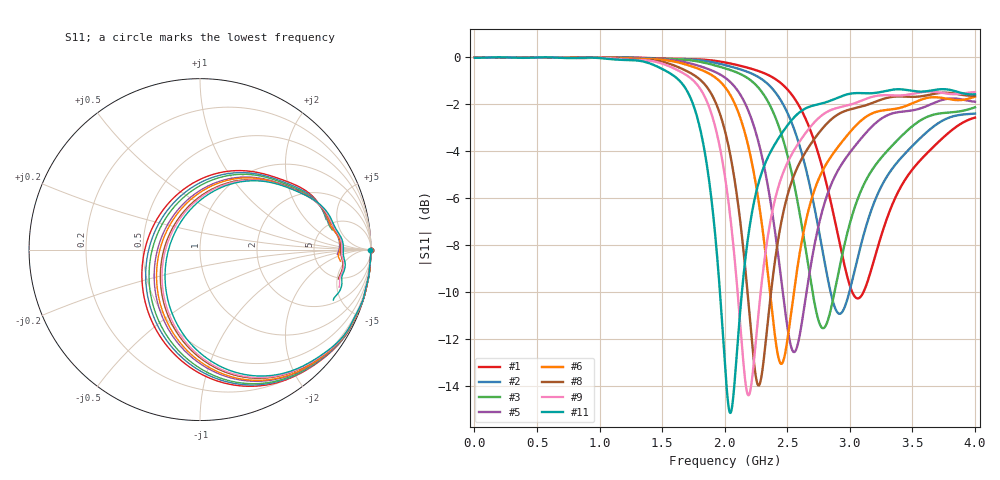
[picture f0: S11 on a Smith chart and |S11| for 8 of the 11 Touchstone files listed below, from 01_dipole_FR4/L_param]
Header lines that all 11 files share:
! TOUCHSTONE file generated by CST MICROWAVE STUDIO
! Project name: AppElm_antenne_dipole_FR4.cst
! Header version: 2018
! Port assignment regex: !\s*Touchstone port\s*([0-9]+)\s*=\s*(CST MWS port|CST DS port)\s*([0-9]+|Zmin|Zmax)\s*\(\"(.*)\"\)(\s*mode\s*([0-9]+))?.*
! Touchstone port assignment:
! Touchstone port 1 = CST MWS port 1 ("")
# GHz S MA R 50
Fixed: e = 0.035, f = 2.45e+09, h = 1.6, i = 0.8, l1 = 4, lambda = 122.449, ls = 30, wl = 1.7, ws = 80
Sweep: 4 MHz to 4 GHz
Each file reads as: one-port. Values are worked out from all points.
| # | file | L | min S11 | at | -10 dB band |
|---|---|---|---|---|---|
| 1 | AppElm_antenne_dipole_FR4_1.s1p | 29.1 | -10.3 dB | 3.064 GHz | 90.6 MHz wide |
| 2 | AppElm_antenne_dipole_FR4_2.s1p | 31.04 | -10.9 dB | 2.916 GHz | 150.4 MHz wide |
| 3 | AppElm_antenne_dipole_FR4_3.s1p | 32.98 | -11.5 dB | 2.784 GHz | 176 MHz wide |
| 4 | AppElm_antenne_dipole_FR4_4.s1p | 34.92 | -12.0 dB | 2.664 GHz | 184.5 MHz wide |
| 5 | AppElm_antenne_dipole_FR4_5.s1p | 36.86 | -12.6 dB | 2.556 GHz | 190 MHz wide |
| 6 | AppElm_antenne_dipole_FR4_6.s1p | 38.8 | -13.1 dB | 2.452 GHz | 191.5 MHz wide |
| 7 | AppElm_antenne_dipole_FR4_7.s1p | 40.74 | -13.5 dB | 2.356 GHz | 191.2 MHz wide |
| 8 | AppElm_antenne_dipole_FR4_8.s1p | 42.68 | -14.0 dB | 2.272 GHz | 188.4 MHz wide |
| 9 | AppElm_antenne_dipole_FR4_9.s1p | 44.62 | -14.4 dB | 2.188 GHz | 184.7 MHz wide |
| 10 | AppElm_antenne_dipole_FR4_10.s1p | 46.56 | -14.8 dB | 2.116 GHz | 180.2 MHz wide |
| 11 | AppElm_antenne_dipole_FR4_11.s1p | 48.5 | -15.2 dB | 2.044 GHz | 175.7 MHz wide |
